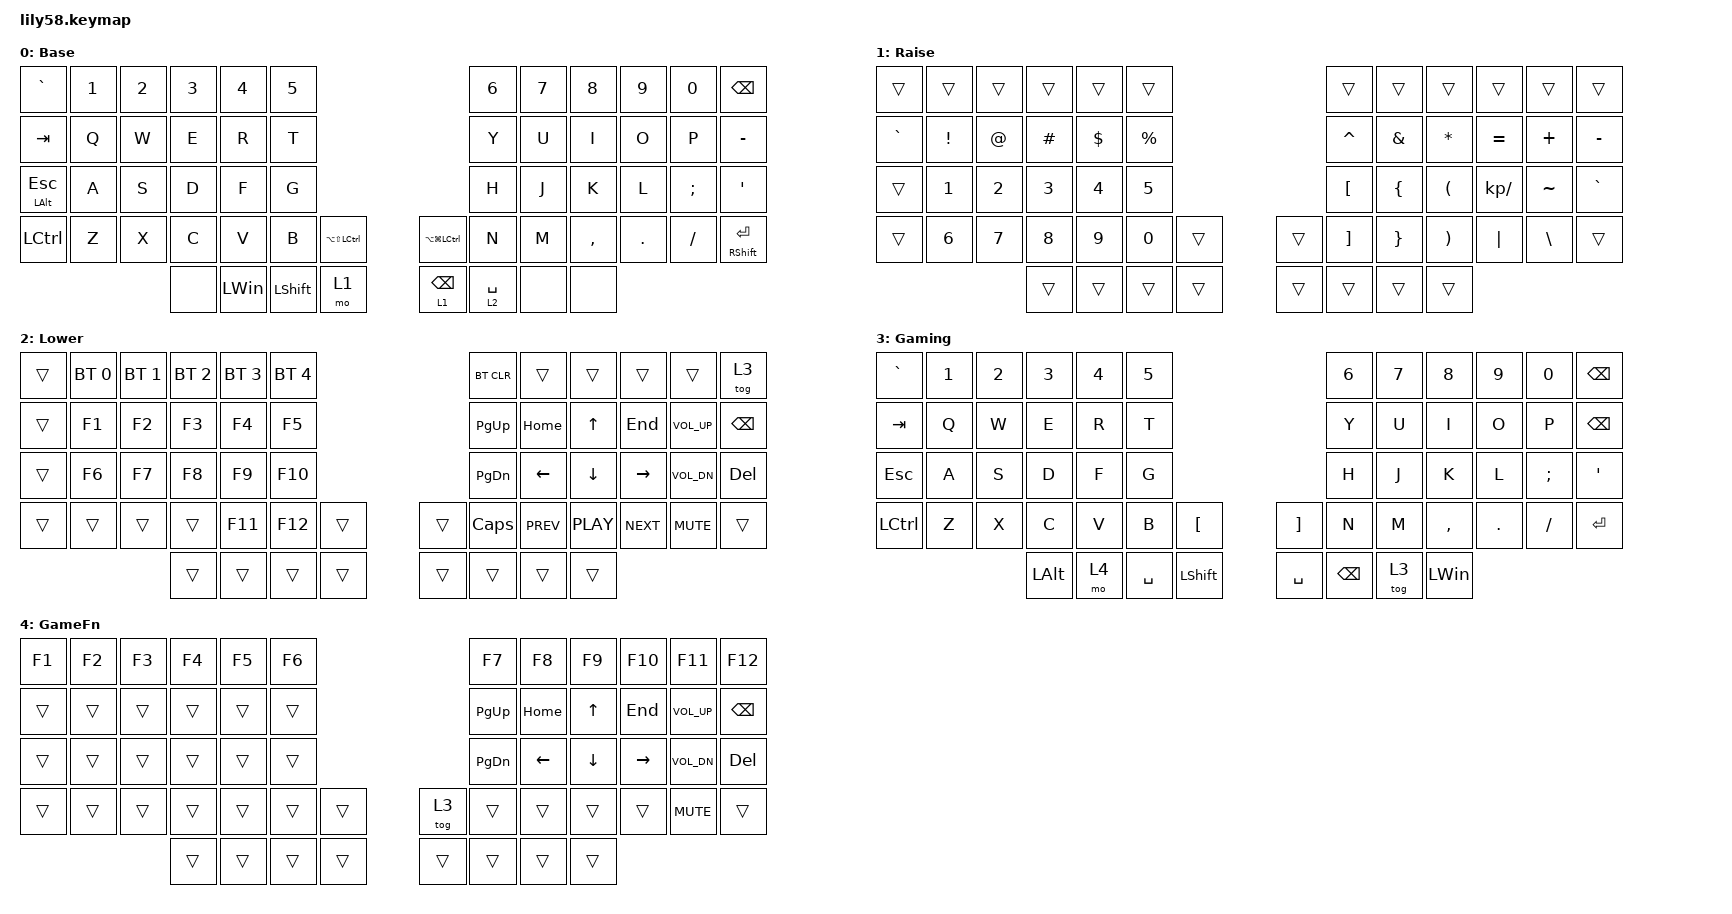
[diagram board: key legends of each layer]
/*
 * Copyright (c) 2020 The ZMK Contributors
 *
 * SPDX-License-Identifier: MIT
 */

#include <behaviors.dtsi>
#include <dt-bindings/zmk/bt.h>
#include <dt-bindings/zmk/keys.h>

/ {
    combos { compatible = "zmk,combos"; };

    keymap {
        compatible = "zmk,keymap";

        default_layer {
            // ------------------------------------------------------------------------------------------------------------
            // |  ESC  |  1  |  2  |  3   |  4   |  5   |                   |  6   |  7    |  8    |  9   |   0   |   `   |
            // |  TAB  |  Q  |  W  |  E   |  R   |  T   |                   |  Y   |  U    |  I    |  O   |   P   |   -   |
            // |  CTRL |  A  |  S  |  D   |  F   |  G   |                   |  H   |  J    |  K    |  L   |   ;   |   '   |
            // | SHIFT |  Z  |  X  |  C   |  V   |  B   |   "["  |  |  "]"  |  N   |  M    |  ,    |  .   |   /   | SHIFT |
            //                     | ALT  | GUI  | LOWER|  SPACE |  | ENTER | RAISE| BSPC  | GUI   |

            label = "Base";
            bindings = <
&kp GRAVE            &kp N1  &kp N2  &kp N3  &kp N4        &kp N5                                                  &kp N6       &kp N7  &kp N8     &kp N9   &kp N0    &kp BACKSPACE
&kp TAB              &kp Q   &kp W   &kp E   &kp R         &kp T                                                   &kp Y        &kp U   &kp I      &kp O    &kp P     &kp MINUS
&mt LEFT_ALT ESCAPE  &kp A   &kp S   &kp D   &kp F         &kp G                                                   &kp H        &kp J   &kp K      &kp L    &kp SEMI  &kp SQT
&kp LCTRL            &kp Z   &kp X   &kp C   &kp V         &kp B           &kp LA(LS(LCTRL))    &kp LA(LG(LCTRL))  &kp N        &kp M   &kp COMMA  &kp DOT  &kp FSLH  &mt RSHFT ENTER
                                     &none   &kp LEFT_WIN  &kp LEFT_SHIFT  &mo 1                &lt 1 BACKSPACE    &lt 2 SPACE  &none   &none
            >;
        };

        raise_layer {
            // ------------------------------------------------------------------------------------------------------------
            // |       |     |     |      |      |      |                   |      |       |       |      |       |       |
            // |   `   |  1  |  2  |  3   |  4   |  5   |                   |  6   |   7   |   8   |  9   |   0   |       |
            // |   F1  |  F2 |  F3 |  F4  |  F5  |  F6  |                   |      |   <-  |   v   |  ^   |  ->   |       |
            // |   F7  |  F8 |  F9 |  F10 |  F11 |  F12 |        |  |       |  +   |   -   |   =   |  [   |   ]   |   \   |
            //                     |      |      |      |        |  |       |      |       |       |

            label = "Raise";
            bindings = <
&trans     &trans           &trans       &trans     &trans      &trans                         &trans     &trans           &trans                 &trans         &trans         &trans
&kp GRAVE  &kp EXCLAMATION  &kp AT_SIGN  &kp POUND  &kp DOLLAR  &kp PERCENT                    &kp CARET  &kp AMPERSAND    &kp ASTERISK           &kp EQUAL      &kp PLUS       &kp MINUS
&trans     &kp N1           &kp N2       &kp N3     &kp N4      &kp N5                         &kp LBKT   &kp LEFT_BRACE   &kp LEFT_PARENTHESIS   &kp KP_DIVIDE  &kp TILDE      &kp GRAVE
&trans     &kp N6           &kp N7       &kp N8     &kp N9      &kp N0       &trans    &trans  &kp RBKT   &kp RIGHT_BRACE  &kp RIGHT_PARENTHESIS  &kp PIPE       &kp BACKSLASH  &trans
                                         &trans     &trans      &trans       &trans    &trans  &trans     &trans           &trans
            >;
        };

        lower_layer {
            // ------------------------------------------------------------------------------------------------------------
            // | BTCLR | BT1 | BT2 |  BT3 |  BT4 |  BT5 |                   |      |       |       |      |       |       |
            // |  F1   |  F2 |  F3 |  F4  |  F5  |  F6  |                   |  F7  |  F8   |  F9   |  F10 |  F11  |  F12  |
            // |   `   |  !  |  @  |  #   |  $   |  %   |                   |  ^   |  &    |  *    |  (   |   )   |   ~   |
            // |       |     |     |      |      |      |        |  |       |      |  _    |  +    |  {   |   }   |  "|"  |
            //                     |      |      |      |        |  |       |      |       |       |

            label = "Lower";
            bindings = <
&trans  &bt BT_SEL 0  &bt BT_SEL 1  &bt BT_SEL 2  &bt BT_SEL 3  &bt BT_SEL 4                    &bt BT_CLR     &trans          &trans        &trans      &trans           &tog 3
&trans  &kp F1        &kp F2        &kp F3        &kp F4        &kp F5                          &kp PAGE_UP    &kp HOME        &kp UP_ARROW  &kp END     &kp C_VOLUME_UP  &kp BACKSPACE
&trans  &kp F6        &kp F7        &kp F8        &kp F9        &kp F10                         &kp PAGE_DOWN  &kp LEFT_ARROW  &kp DOWN      &kp RIGHT   &kp C_VOL_DN     &kp DELETE
&trans  &trans        &trans        &trans        &kp F11       &kp F12       &trans    &trans  &kp CAPS       &kp C_PREV      &kp C_PLAY    &kp C_NEXT  &kp C_MUTE       &trans
                                    &trans        &trans        &trans        &trans    &trans  &trans         &trans          &trans
            >;
        };

        gaming {
            bindings = <
&kp GRAVE  &kp N1  &kp N2  &kp N3    &kp N4  &kp N5                             &kp N6         &kp N7  &kp N8     &kp N9   &kp N0    &kp BSPC
&kp TAB    &kp Q   &kp W   &kp E     &kp R   &kp T                              &kp Y          &kp U   &kp I      &kp O    &kp P     &kp BSPC
&kp ESC    &kp A   &kp S   &kp D     &kp F   &kp G                              &kp H          &kp J   &kp K      &kp L    &kp SEMI  &kp SQT
&kp LCTRL  &kp Z   &kp X   &kp C     &kp V   &kp B      &kp LBKT     &kp RBKT   &kp N          &kp M   &kp COMMA  &kp DOT  &kp FSLH  &kp ENTER
                           &kp LALT  &mo 4   &kp SPACE  &kp LSHFT    &kp SPACE  &kp BACKSPACE  &tog 3  &kp LWIN
            >;

            label = "Gaming";
        };

        game_fn {
            bindings = <
&kp F1  &kp F2  &kp F3  &kp F4  &kp F5  &kp F6                    &kp F7     &kp F8    &kp F9    &kp F10    &kp F11          &kp F12
&trans  &trans  &trans  &trans  &trans  &trans                    &kp PG_UP  &kp HOME  &kp UP    &kp END    &kp C_VOLUME_UP  &kp BSPC
&trans  &trans  &trans  &trans  &trans  &trans                    &kp PG_DN  &kp LEFT  &kp DOWN  &kp RIGHT  &kp C_VOL_DN     &kp DEL
&trans  &trans  &trans  &trans  &trans  &trans  &trans    &tog 3  &trans     &trans    &trans    &trans     &kp C_MUTE       &trans
                        &trans  &trans  &trans  &trans    &trans  &trans     &trans    &trans
            >;

            label = "GameFn";
        };
    };
};
